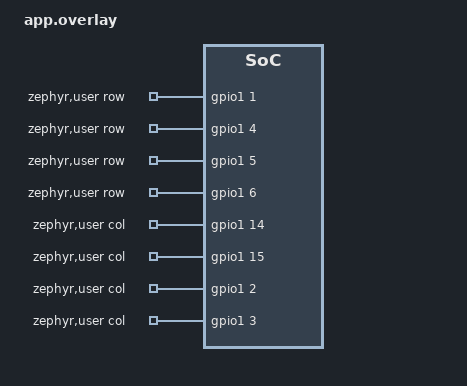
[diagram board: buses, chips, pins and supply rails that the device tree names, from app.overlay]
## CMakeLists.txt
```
cmake_minimum_required(VERSION 3.20.0)

set(DTC_OVERLAY_FILE "${CMAKE_CURRENT_SOURCE_DIR}/app.overlay")

find_package(Zephyr REQUIRED HINTS $ENV{ZEPHYR_BASE})

project(keypad)

target_sources(app PRIVATE src/main.c)
```

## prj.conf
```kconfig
CONFIG_GPIO=y
CONFIG_SERIAL=y
CONFIG_CONSOLE=y
CONFIG_PRINTK=y
```

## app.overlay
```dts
/ {
    zephyr,user {
        row-gpios = <&gpio1 1 GPIO_ACTIVE_HIGH>,
                    <&gpio1 4 GPIO_ACTIVE_HIGH>,
                    <&gpio1 5 GPIO_ACTIVE_HIGH>,
                    <&gpio1 6 GPIO_ACTIVE_HIGH>;

        col-gpios = <&gpio1 14 (GPIO_ACTIVE_HIGH | GPIO_PULL_DOWN)>,
                    <&gpio1 15 (GPIO_ACTIVE_HIGH | GPIO_PULL_DOWN)>,
                    <&gpio1 2 (GPIO_ACTIVE_HIGH | GPIO_PULL_DOWN)>,
                    <&gpio1 3 (GPIO_ACTIVE_HIGH | GPIO_PULL_DOWN)>;
    };
};
```

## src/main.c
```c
#include <zephyr/kernel.h>
#include <zephyr/drivers/gpio.h>
#include <zephyr/sys/printk.h>
#include <zephyr/sys/util.h>

#define ROWS 4
#define COLS 4

#define KEYPAD_NODE DT_PATH(zephyr_user)

BUILD_ASSERT(DT_NODE_HAS_PROP(KEYPAD_NODE, row_gpios), "Missing row-gpios in zephyr,user node");
BUILD_ASSERT(DT_NODE_HAS_PROP(KEYPAD_NODE, col_gpios), "Missing col-gpios in zephyr,user node");
BUILD_ASSERT(DT_PROP_LEN(KEYPAD_NODE, row_gpios) == ROWS, "row-gpios must have 4 entries");
BUILD_ASSERT(DT_PROP_LEN(KEYPAD_NODE, col_gpios) == COLS, "col-gpios must have 4 entries");

static const struct gpio_dt_spec row_gpios[ROWS] = {
        GPIO_DT_SPEC_GET_BY_IDX(KEYPAD_NODE, row_gpios, 0),
        GPIO_DT_SPEC_GET_BY_IDX(KEYPAD_NODE, row_gpios, 1),
        GPIO_DT_SPEC_GET_BY_IDX(KEYPAD_NODE, row_gpios, 2),
        GPIO_DT_SPEC_GET_BY_IDX(KEYPAD_NODE, row_gpios, 3),
};

static const struct gpio_dt_spec col_gpios[COLS] = {
        GPIO_DT_SPEC_GET_BY_IDX(KEYPAD_NODE, col_gpios, 0),
        GPIO_DT_SPEC_GET_BY_IDX(KEYPAD_NODE, col_gpios, 1),
        GPIO_DT_SPEC_GET_BY_IDX(KEYPAD_NODE, col_gpios, 2),
        GPIO_DT_SPEC_GET_BY_IDX(KEYPAD_NODE, col_gpios, 3),
};

/* Keypad layout */
static const char keymap[4][4] = {
    {'1', '2', '3', 'A'},
    {'4', '5', '6', 'B'},
    {'7', '8', '9', 'C'},
    {'*', '0', '#', 'D'}};

/* ---- Initialization ---- */
void keypad_init(void)
{
        for (int i = 0; i < ROWS; i++) {
                if (!gpio_is_ready_dt(&row_gpios[i])) {
                        printk("Row GPIO %d not ready\n", i + 1);
                        return;
                }

                gpio_pin_configure_dt(&row_gpios[i], GPIO_OUTPUT_INACTIVE);
        }

        for (int i = 0; i < COLS; i++) {
                if (!gpio_is_ready_dt(&col_gpios[i])) {
                        printk("Column GPIO %d not ready\n", i + 1);
                        return;
                }

                gpio_pin_configure_dt(&col_gpios[i], GPIO_INPUT);
        }

        printk("Keypad initialized\n");
}

/* ---- Scan Function ---- */
char scan_keypad(void)
{
        for (int row = 0; row < ROWS; row++) {
                gpio_pin_set_dt(&row_gpios[row], 0);
        }

        for (int r = 0; r < ROWS; r++)
        {
                gpio_pin_set_dt(&row_gpios[r], 1);
                k_usleep(50);

                for (int c = 0; c < COLS; c++)
                {

                        if (gpio_pin_get_dt(&col_gpios[c]))
                        {

                                /* Debounce */
                                k_msleep(20);

                                if (gpio_pin_get_dt(&col_gpios[c]))
                                {


                                        return keymap[r][c];
                                }
                        }
                }

                /* Restore row LOW */
                gpio_pin_set_dt(&row_gpios[r], 0);
        }

        return 0;
}

/* ---- Main ---- */
void main(void)
{
        printk("Starting Keypad\n");

        keypad_init();

        char last_key = 0;

        while (1)
        {

                char key = scan_keypad();

                if (key && key != last_key)
                {
                        printk("Key pressed: %c\n", key);
                        last_key = key;
                }

                if (!key)
                {
                        last_key = 0;
                }

                k_msleep(50);
        }
}
```
